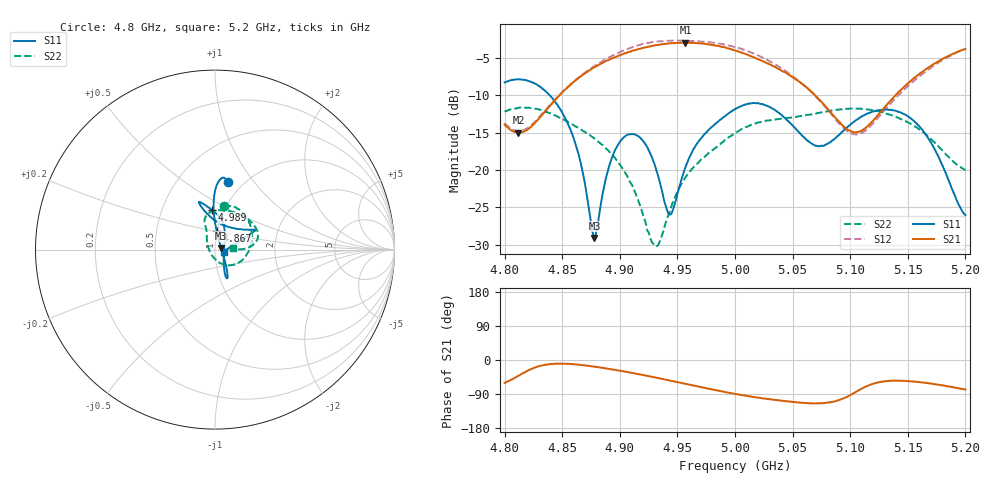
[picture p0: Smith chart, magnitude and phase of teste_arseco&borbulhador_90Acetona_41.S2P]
! Network Analyzer HP8722D
! Hewlett-Packard
! Data name: Linha & Wilkinson
! Saver's name: Rodrigo Anjos
! Comments: Teste da utilização de aquisição
! continua pelo VNA HP8722D
! Time and date: 17/4/2025 11:23
!  Frequency  S11  S21  S12  S22
# HZ  S  MA R 50
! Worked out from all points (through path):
!   401 points, 4.8 GHz to 5.2 GHz, reference 50 ohm
!   highest |S21| = -2.99 dB at 4.957 GHz (marker M1); lowest = -15.0 dB at 4.812 GHz (marker M2)
!   lowest |S11| = -29.1 dB at 4.878 GHz (marker M3), VSWR 1.07, Z = 53.5 + j0.987 ohm
!   |S11| at or under -10 dB: 4.839 GHz to end of sweep
!   |S22| runs from -30.2 to -11.6 dB; largest |S21 - S12| = 1.4
!   S11 on the Smith chart (normalised r, x): 4.8 GHz: 0.85, +0.75; 4.867 GHz: 1.00, +0.21; 4.989 GHz: 0.88, +0.41; 5.2 GHz: 1.10, -0.03
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4.8e9  0.3845 79.5  0.201 -60.3  0.2058 74.8  0.2456 78.2
4.812e9  0.4043 83.2  0.1771 -41.7  0.182 91.8  0.2597 67.4
4.845e9  0.278 91.4  0.3009 -9.6  0.3025 123.0  0.2294 27.9
4.858e9  0.1789 91.1  0.377 -10.8  0.3777 124.0  0.2032 8.7
4.867e9  0.1036 84.8  0.4283 -13.5  0.4302 123.2  0.1848 -4.8
4.878e9  0.03507 15.2  0.4866 -17.7  0.4946 121.0  0.1625 -21.5
4.891e9  0.1079 -55.6  0.5455 -24.0  0.5674 116.7  0.1324 -39.9
4.904e9  0.1666 -65.2  0.5999 -30.5  0.6309 111.4  0.09846 -58.4
4.92e9  0.157 -68.3  0.6535 -39.7  0.6966 102.6  0.0505 -92.1
4.929e9  0.1153 -64.1  0.676 -44.8  0.7176 97.2  0.03221 -138.0
4.934e9  0.08695 -55.9  0.685 -48.2  0.7259 93.9  0.03233 -176.3
4.944e9  0.05037 1.2  0.7032 -54.5  0.7309 87.4  0.05499 140.5
4.957e9  0.1047 58.8  0.709 -62.7  0.7314 79.2  0.08936 121.1
4.969e9  0.1574 73.8  0.7007 -70.5  0.7231 71.4  0.1141 114.3
4.989e9  0.2224 94.3  0.6629 -83.0  0.693 58.4  0.1528 111.8
5e9  0.2551 102.8  0.6289 -89.6  0.6639 51.3  0.1768 109.3
5.029e9  0.2663 108.6  0.5122 -103.1  0.5386 35.5  0.2143 92.8
5.067e9  0.1494 80.4  0.3302 -114.2  0.3275 26.5  0.2355 59.2
5.104e9  0.2124 31.5  0.1786 -85.9  0.1729 58.2  0.2574 26.4
5.134e9  0.2524 25.8  0.2854 -55.0  0.272 91.1  0.2349 11.1
5.164e9  0.1791 21.3  0.4614 -59.6  0.4455 88.2  0.1772 2.7
5.2e9  0.05 -16.7  0.6438 -78.0  0.6455 71.0  0.09951 4.6
